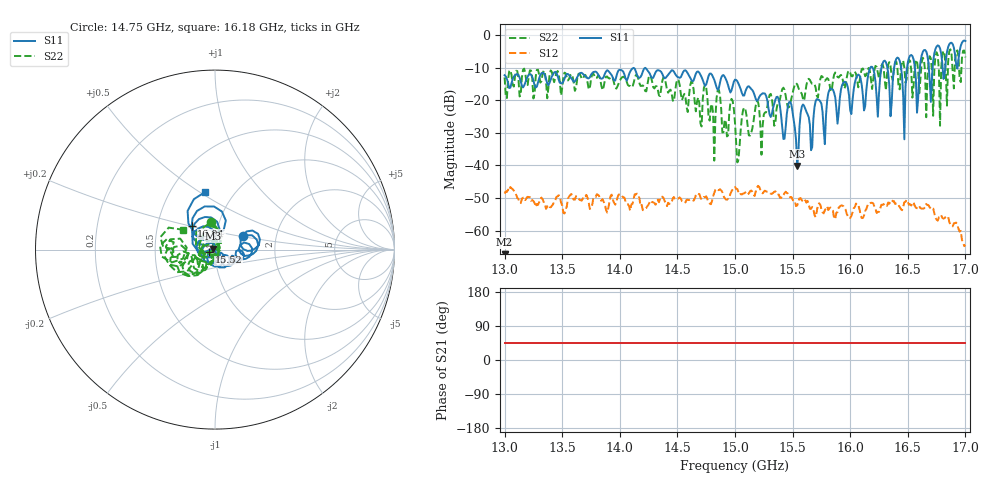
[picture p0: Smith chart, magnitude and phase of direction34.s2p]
!Keysight Technologies,P9374A,MY57211810,A.19.30.04
!Date: Friday, May 02, 2025 09:03:14
!Correction: S11(Off)
!S21(Off)
!S12(Off)
!S22(Off)
!S2P File: Measurements: S11, S21, S12, S22:
# Hz S  dB  R 50
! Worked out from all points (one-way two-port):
!   401 points, 13 GHz to 17 GHz, reference 50 ohm
!   highest |S21| = - dB at 13 GHz (marker M1); lowest = - dB at 13 GHz (marker M2)
!   lowest |S11| = -40.2 dB at 15.54 GHz (marker M3), VSWR 1.02, Z = 49.2 + j0.475 ohm
!   |S11| at or under -10 dB: start of sweep to 16.18 GHz; 16.19362 GHz to 16.27228 GHz (78.66 MHz wide, 0.485 % of centre); 16.32239 GHz to 16.38104 GHz (58.65 MHz wide, 0.359 % of centre) (the widest 3 of 8)
!   |S22| runs from -39.1 to -4.4 dB; largest |S21 - S12| = 0.0049
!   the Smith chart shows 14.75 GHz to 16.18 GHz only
!   S11 on the Smith chart (normalised r, x): 14.75 GHz: 1.35, +0.21; 15.52 GHz: 0.93, -0.03; 16.04 GHz: 0.75, +0.20; 16.18 GHz: 0.74, +0.53
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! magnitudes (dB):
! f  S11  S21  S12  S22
! 13 GHz  -12.3  -  -48.6  -13.0
! 13.67 GHz  -11.6  -  -50.8  -13.4
! 14.34 GHz  -10.9  -  -51.3  -18.5
! 14.75 GHz  -15.2  -  -49.5  -16.2
! 15 GHz  -13.7  -  -46.5  -26.9
! 15.37 GHz  -18.9  -  -49.0  -21.0
! 15.42 GHz  -31.9  -  -49.2  -16.2
! 15.48 GHz  -20.5  -  -49.9  -20.9
! 15.52 GHz  -28.6  -  -51.1  -15.2
! 15.54 GHz  -40.2  -  -52.3  -15.1
! 15.59 GHz  -21.3  -  -51.0  -19.6
! 15.67 GHz  -34.4  -  -52.7  -15.0
! 16.04 GHz  -14.7  -  -52.8  -11.2
! 16.18 GHz  -9.8  -  -51.4  -13.5
! 16.34 GHz  -15.7  -  -51.7  -8.3
! 16.41 GHz  -6.9  -  -51.6  -10.2
! 16.47 GHz  -32.0  -  -51.3  -10.0
! 16.52 GHz  -6.3  -  -51.9  -7.9
! 16.58 GHz  -23.8  -  -53.1  -7.9
! 16.64 GHz  -4.7  -  -53.1  -7.5
! 16.7 GHz  -20.5  -  -53.1  -7.2
! 17 GHz  -1.9  -  -64.3  -6.9
